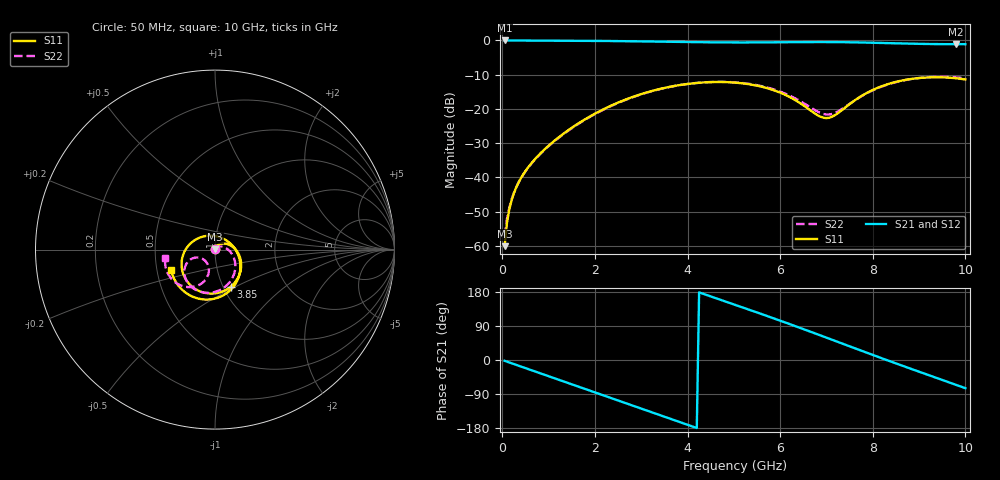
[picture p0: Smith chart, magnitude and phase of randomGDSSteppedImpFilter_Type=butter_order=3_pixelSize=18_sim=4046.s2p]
! freq	dB(S11)	phase(S11)	dB(S12)	phase(S12)
!  dB(S21)	phase(S21)	dB(S22)	phase(S22)
!S-par simulation data
#  GHz  S  DB  R 50
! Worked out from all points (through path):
!   200 points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, 50 MHz to 10 GHz, reference 50 ohm
!   highest |S21| = 0.00 dB at 50 MHz (marker M1); lowest = -1.1 dB at 9.8 GHz (marker M2)
!   group delay of S21, straight-line fit = 121 ps
!   lowest |S11| = -60.0 dB at 50 MHz (marker M3), VSWR 1.00, Z = 50 + j0.0976 ohm
!   |S11| at or under -10 dB: start of sweep to end of sweep
!   |S22| runs from -57.2 to -10.6 dB; largest |S21 - S12| = 0
!   S11 on the Smith chart (normalised r, x): 50 MHz: 1.00, +0.00; 3.85 GHz: 1.09, -0.47; 10 GHz: 0.59, -0.15
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0.05  -60.05 78.8  -0.00 -2.2  -0.00 -2.2  -57.18 73.1
0.1  -53.31 78.8  -0.00 -4.3  -0.00 -4.3  -52.13 74.9
0.2  -46.66 79.6  -0.01 -8.6  -0.01 -8.6  -46.45 74.0
0.45  -39.14 76.2  -0.03 -19.3  -0.03 -19.3  -39.20 63.8
0.75  -34.00 67.8  -0.04 -32.1  -0.04 -32.1  -34.09 49.4
1.15  -29.01 53.6  -0.06 -49.2  -0.06 -49.2  -29.13 30.4
1.75  -23.31 28.8  -0.10 -74.9  -0.10 -74.9  -23.44 3.8
2.15  -20.32 11.0  -0.14 -92.0  -0.14 -92.0  -20.43 -13.1
2.55  -17.86 -7.2  -0.19 -109.2  -0.19 -109.2  -17.95 -29.5
3.4  -14.17 -46.2  -0.35 -145.6  -0.35 -145.6  -14.21 -63.4
3.85  -12.98 -66.9  -0.44 -164.7  -0.44 -164.7  -13.00 -80.8
4.45  -12.18 -94.6  -0.54 170.0  -0.54 170.0  -12.16 -103.3
5.05  -12.33 -123.1  -0.58 144.7  -0.58 144.7  -12.26 -124.7
5.95  -14.96 -171.4  -0.53 106.0  -0.53 106.0  -14.68 -152.2
6.35  -17.60 160.1  -0.48 88.4  -0.48 88.4  -17.08 -158.5
6.7  -20.86 123.0  -0.46 72.6  -0.46 72.6  -19.92 -153.8
7.1  -22.38 53.6  -0.47 54.4  -0.47 54.4  -21.52 -126.8
7.75  -16.26 -25.2  -0.59 24.7  -0.59 24.7  -16.32 -105.5
8.35  -12.65 -64.8  -0.78 -2.3  -0.78 -2.3  -12.74 -117.7
9  -10.96 -100.4  -0.99 -30.9  -0.99 -30.9  -10.95 -138.0
9.8  -11.04 -143.4  -1.10 -65.6  -1.10 -65.6  -10.79 -164.2
10  -11.39 -155.0  -1.09 -74.4  -1.09 -74.4  -11.04 -170.3
